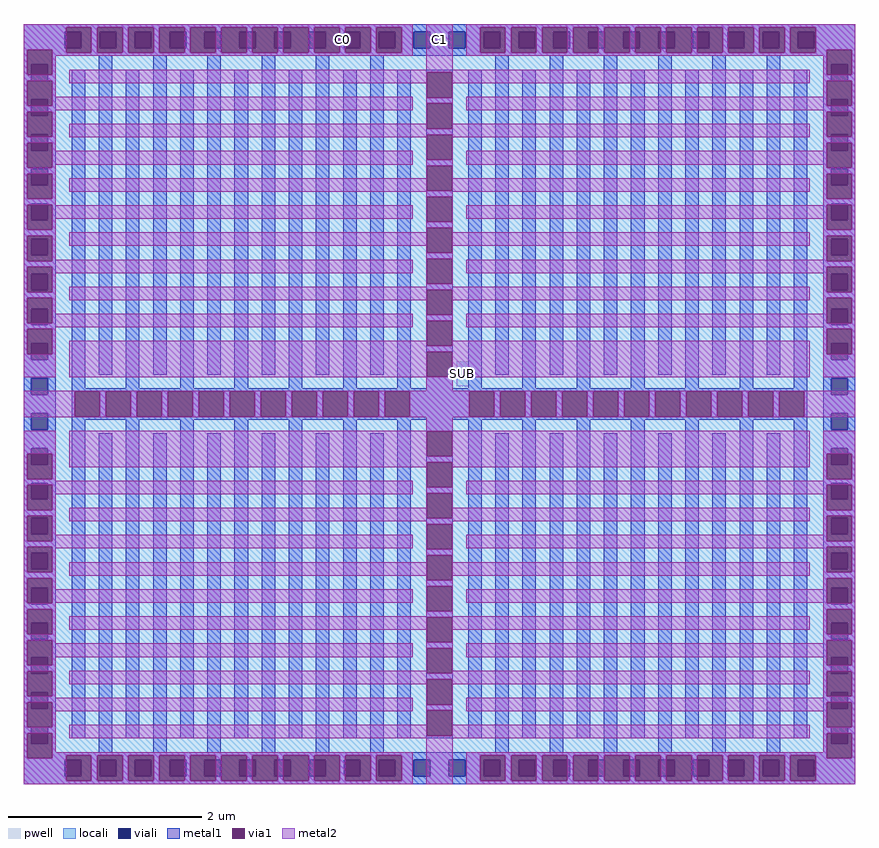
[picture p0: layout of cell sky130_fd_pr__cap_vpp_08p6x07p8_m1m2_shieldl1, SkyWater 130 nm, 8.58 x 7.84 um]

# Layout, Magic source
magic
tech sky130A
magscale 1 2
<< pwell >>
rect 894 821 918 872
<< locali >>
rect 0 1552 1716 1568
rect 0 1518 85 1552
rect 119 1518 157 1552
rect 191 1518 229 1552
rect 263 1518 301 1552
rect 335 1518 373 1552
rect 407 1518 445 1552
rect 479 1518 517 1552
rect 551 1518 589 1552
rect 623 1518 661 1552
rect 695 1518 733 1552
rect 767 1518 805 1552
rect 839 1518 877 1552
rect 911 1518 949 1552
rect 983 1518 1021 1552
rect 1055 1518 1093 1552
rect 1127 1518 1165 1552
rect 1199 1518 1237 1552
rect 1271 1518 1309 1552
rect 1343 1518 1381 1552
rect 1415 1518 1453 1552
rect 1487 1518 1525 1552
rect 1559 1518 1597 1552
rect 1631 1518 1716 1552
rect 0 1485 1716 1518
rect 0 1451 16 1485
rect 50 1451 1666 1485
rect 1700 1451 1716 1485
rect 0 1413 1716 1451
rect 0 1379 16 1413
rect 50 1379 1666 1413
rect 1700 1379 1716 1413
rect 0 1341 1716 1379
rect 0 1307 16 1341
rect 50 1307 1666 1341
rect 1700 1307 1716 1341
rect 0 1269 1716 1307
rect 0 1235 16 1269
rect 50 1235 1666 1269
rect 1700 1235 1716 1269
rect 0 1197 1716 1235
rect 0 1163 16 1197
rect 50 1163 1666 1197
rect 1700 1163 1716 1197
rect 0 1125 1716 1163
rect 0 1091 16 1125
rect 50 1091 1666 1125
rect 1700 1091 1716 1125
rect 0 1053 1716 1091
rect 0 1019 16 1053
rect 50 1019 1666 1053
rect 1700 1019 1716 1053
rect 0 981 1716 1019
rect 0 947 16 981
rect 50 947 1666 981
rect 1700 947 1716 981
rect 0 909 1716 947
rect 0 875 16 909
rect 50 875 1666 909
rect 1700 875 1716 909
rect 0 837 1716 875
rect 0 803 16 837
rect 50 803 1666 837
rect 1700 803 1716 837
rect 0 765 1716 803
rect 0 731 16 765
rect 50 731 1666 765
rect 1700 731 1716 765
rect 0 693 1716 731
rect 0 659 16 693
rect 50 659 1666 693
rect 1700 659 1716 693
rect 0 621 1716 659
rect 0 587 16 621
rect 50 587 1666 621
rect 1700 587 1716 621
rect 0 549 1716 587
rect 0 515 16 549
rect 50 515 1666 549
rect 1700 515 1716 549
rect 0 477 1716 515
rect 0 443 16 477
rect 50 443 1666 477
rect 1700 443 1716 477
rect 0 405 1716 443
rect 0 371 16 405
rect 50 371 1666 405
rect 1700 371 1716 405
rect 0 333 1716 371
rect 0 299 16 333
rect 50 299 1666 333
rect 1700 299 1716 333
rect 0 261 1716 299
rect 0 227 16 261
rect 50 227 1666 261
rect 1700 227 1716 261
rect 0 189 1716 227
rect 0 155 16 189
rect 50 155 1666 189
rect 1700 155 1716 189
rect 0 117 1716 155
rect 0 83 16 117
rect 50 83 1666 117
rect 1700 83 1716 117
rect 0 50 1716 83
rect 0 16 85 50
rect 119 16 157 50
rect 191 16 229 50
rect 263 16 301 50
rect 335 16 373 50
rect 407 16 445 50
rect 479 16 517 50
rect 551 16 589 50
rect 623 16 661 50
rect 695 16 733 50
rect 767 16 805 50
rect 839 16 877 50
rect 911 16 949 50
rect 983 16 1021 50
rect 1055 16 1093 50
rect 1127 16 1165 50
rect 1199 16 1237 50
rect 1271 16 1309 50
rect 1343 16 1381 50
rect 1415 16 1453 50
rect 1487 16 1525 50
rect 1559 16 1597 50
rect 1631 16 1716 50
rect 0 0 1716 16
<< viali >>
rect 85 1518 119 1552
rect 157 1518 191 1552
rect 229 1518 263 1552
rect 301 1518 335 1552
rect 373 1518 407 1552
rect 445 1518 479 1552
rect 517 1518 551 1552
rect 589 1518 623 1552
rect 661 1518 695 1552
rect 733 1518 767 1552
rect 805 1518 839 1552
rect 877 1518 911 1552
rect 949 1518 983 1552
rect 1021 1518 1055 1552
rect 1093 1518 1127 1552
rect 1165 1518 1199 1552
rect 1237 1518 1271 1552
rect 1309 1518 1343 1552
rect 1381 1518 1415 1552
rect 1453 1518 1487 1552
rect 1525 1518 1559 1552
rect 1597 1518 1631 1552
rect 16 1451 50 1485
rect 1666 1451 1700 1485
rect 16 1379 50 1413
rect 1666 1379 1700 1413
rect 16 1307 50 1341
rect 1666 1307 1700 1341
rect 16 1235 50 1269
rect 1666 1235 1700 1269
rect 16 1163 50 1197
rect 1666 1163 1700 1197
rect 16 1091 50 1125
rect 1666 1091 1700 1125
rect 16 1019 50 1053
rect 1666 1019 1700 1053
rect 16 947 50 981
rect 1666 947 1700 981
rect 16 875 50 909
rect 1666 875 1700 909
rect 16 803 50 837
rect 1666 803 1700 837
rect 16 731 50 765
rect 1666 731 1700 765
rect 16 659 50 693
rect 1666 659 1700 693
rect 16 587 50 621
rect 1666 587 1700 621
rect 16 515 50 549
rect 1666 515 1700 549
rect 16 443 50 477
rect 1666 443 1700 477
rect 16 371 50 405
rect 1666 371 1700 405
rect 16 299 50 333
rect 1666 299 1700 333
rect 16 227 50 261
rect 1666 227 1700 261
rect 16 155 50 189
rect 1666 155 1700 189
rect 16 83 50 117
rect 1666 83 1700 117
rect 85 16 119 50
rect 157 16 191 50
rect 229 16 263 50
rect 301 16 335 50
rect 373 16 407 50
rect 445 16 479 50
rect 517 16 551 50
rect 589 16 623 50
rect 661 16 695 50
rect 733 16 767 50
rect 805 16 839 50
rect 877 16 911 50
rect 949 16 983 50
rect 1021 16 1055 50
rect 1093 16 1127 50
rect 1165 16 1199 50
rect 1237 16 1271 50
rect 1309 16 1343 50
rect 1381 16 1415 50
rect 1453 16 1487 50
rect 1525 16 1559 50
rect 1597 16 1631 50
<< metal1 >>
rect 0 1561 1716 1568
rect 0 1552 88 1561
rect 0 1518 85 1552
rect 0 1515 88 1518
rect 0 1463 7 1515
rect 59 1509 88 1515
rect 140 1509 152 1561
rect 204 1509 216 1561
rect 268 1509 280 1561
rect 332 1552 344 1561
rect 396 1552 408 1561
rect 460 1552 472 1561
rect 524 1552 536 1561
rect 588 1552 600 1561
rect 652 1552 664 1561
rect 335 1518 344 1552
rect 407 1518 408 1552
rect 588 1518 589 1552
rect 652 1518 661 1552
rect 332 1509 344 1518
rect 396 1509 408 1518
rect 460 1509 472 1518
rect 524 1509 536 1518
rect 588 1509 600 1518
rect 652 1509 664 1518
rect 716 1509 728 1561
rect 780 1552 942 1561
rect 780 1518 805 1552
rect 839 1518 877 1552
rect 911 1518 942 1552
rect 780 1509 942 1518
rect 994 1509 1006 1561
rect 1058 1509 1070 1561
rect 1122 1552 1134 1561
rect 1186 1552 1198 1561
rect 1250 1552 1262 1561
rect 1314 1552 1326 1561
rect 1378 1552 1390 1561
rect 1442 1552 1454 1561
rect 1127 1518 1134 1552
rect 1378 1518 1381 1552
rect 1442 1518 1453 1552
rect 1122 1509 1134 1518
rect 1186 1509 1198 1518
rect 1250 1509 1262 1518
rect 1314 1509 1326 1518
rect 1378 1509 1390 1518
rect 1442 1509 1454 1518
rect 1506 1509 1518 1561
rect 1570 1509 1582 1561
rect 1634 1515 1716 1561
rect 1634 1509 1657 1515
rect 59 1502 1657 1509
rect 59 1463 66 1502
rect 0 1451 16 1463
rect 50 1451 66 1463
rect 0 1399 7 1451
rect 59 1399 66 1451
rect 0 1387 16 1399
rect 50 1387 66 1399
rect 0 1335 7 1387
rect 59 1335 66 1387
rect 0 1323 16 1335
rect 50 1323 66 1335
rect 0 1271 7 1323
rect 59 1271 66 1323
rect 0 1269 66 1271
rect 0 1259 16 1269
rect 50 1259 66 1269
rect 0 1207 7 1259
rect 59 1207 66 1259
rect 0 1197 66 1207
rect 0 1195 16 1197
rect 50 1195 66 1197
rect 0 1143 7 1195
rect 59 1143 66 1195
rect 0 1131 66 1143
rect 0 1079 7 1131
rect 59 1079 66 1131
rect 0 1067 66 1079
rect 0 1015 7 1067
rect 59 1015 66 1067
rect 0 1003 66 1015
rect 0 951 7 1003
rect 59 951 66 1003
rect 0 947 16 951
rect 50 947 66 951
rect 0 939 66 947
rect 0 887 7 939
rect 59 887 66 939
rect 0 875 16 887
rect 50 875 66 887
rect 0 837 66 875
rect 0 803 16 837
rect 50 803 66 837
rect 0 765 66 803
rect 0 731 16 765
rect 50 731 66 765
rect 0 693 66 731
rect 0 681 16 693
rect 50 681 66 693
rect 0 629 7 681
rect 59 629 66 681
rect 0 621 66 629
rect 0 617 16 621
rect 50 617 66 621
rect 0 565 7 617
rect 59 565 66 617
rect 0 553 66 565
rect 0 501 7 553
rect 59 501 66 553
rect 0 489 66 501
rect 0 437 7 489
rect 59 437 66 489
rect 0 425 66 437
rect 0 373 7 425
rect 59 373 66 425
rect 0 371 16 373
rect 50 371 66 373
rect 0 361 66 371
rect 0 309 7 361
rect 59 309 66 361
rect 0 299 16 309
rect 50 299 66 309
rect 0 297 66 299
rect 0 245 7 297
rect 59 245 66 297
rect 0 233 16 245
rect 50 233 66 245
rect 0 181 7 233
rect 59 181 66 233
rect 0 169 16 181
rect 50 169 66 181
rect 0 117 7 169
rect 59 117 66 169
rect 0 105 16 117
rect 50 105 66 117
rect 0 53 7 105
rect 59 66 66 105
rect 99 816 127 1474
rect 155 844 183 1502
rect 211 816 239 1474
rect 267 844 295 1502
rect 323 816 351 1474
rect 379 844 407 1502
rect 435 816 463 1474
rect 491 844 519 1502
rect 547 816 575 1474
rect 603 844 631 1502
rect 659 816 687 1474
rect 715 844 743 1502
rect 771 816 799 1474
rect 831 1468 885 1474
rect 831 1416 832 1468
rect 884 1416 885 1468
rect 831 1404 885 1416
rect 831 1352 832 1404
rect 884 1352 885 1404
rect 831 1340 885 1352
rect 831 1288 832 1340
rect 884 1288 885 1340
rect 831 1276 885 1288
rect 831 1224 832 1276
rect 884 1224 885 1276
rect 831 1212 885 1224
rect 831 1160 832 1212
rect 884 1160 885 1212
rect 831 1148 885 1160
rect 831 1096 832 1148
rect 884 1096 885 1148
rect 831 1084 885 1096
rect 831 1032 832 1084
rect 884 1032 885 1084
rect 831 1020 885 1032
rect 831 968 832 1020
rect 884 968 885 1020
rect 831 956 885 968
rect 831 904 832 956
rect 884 904 885 956
rect 831 892 885 904
rect 831 840 832 892
rect 884 840 885 892
rect 831 816 885 840
rect 917 816 945 1474
rect 973 844 1001 1502
rect 1029 816 1057 1474
rect 1085 844 1113 1502
rect 1141 816 1169 1474
rect 1197 844 1225 1502
rect 1253 816 1281 1474
rect 1309 844 1337 1502
rect 1365 816 1393 1474
rect 1421 844 1449 1502
rect 1477 816 1505 1474
rect 1533 844 1561 1502
rect 1589 816 1617 1474
rect 99 810 1617 816
rect 99 758 105 810
rect 157 758 169 810
rect 221 758 233 810
rect 285 758 297 810
rect 349 758 361 810
rect 413 758 425 810
rect 477 758 489 810
rect 541 758 553 810
rect 605 758 617 810
rect 669 758 681 810
rect 733 758 745 810
rect 797 758 919 810
rect 971 758 983 810
rect 1035 758 1047 810
rect 1099 758 1111 810
rect 1163 758 1175 810
rect 1227 758 1239 810
rect 1291 758 1303 810
rect 1355 758 1367 810
rect 1419 758 1431 810
rect 1483 758 1495 810
rect 1547 758 1559 810
rect 1611 758 1617 810
rect 99 752 1617 758
rect 99 94 127 752
rect 155 66 183 724
rect 211 94 239 752
rect 267 66 295 724
rect 323 94 351 752
rect 379 66 407 724
rect 435 94 463 752
rect 491 66 519 724
rect 547 94 575 752
rect 603 66 631 724
rect 659 94 687 752
rect 715 66 743 724
rect 771 94 799 752
rect 831 728 885 752
rect 831 676 832 728
rect 884 676 885 728
rect 831 664 885 676
rect 831 612 832 664
rect 884 612 885 664
rect 831 600 885 612
rect 831 548 832 600
rect 884 548 885 600
rect 831 536 885 548
rect 831 484 832 536
rect 884 484 885 536
rect 831 472 885 484
rect 831 420 832 472
rect 884 420 885 472
rect 831 408 885 420
rect 831 356 832 408
rect 884 356 885 408
rect 831 344 885 356
rect 831 292 832 344
rect 884 292 885 344
rect 831 280 885 292
rect 831 228 832 280
rect 884 228 885 280
rect 831 216 885 228
rect 831 164 832 216
rect 884 164 885 216
rect 831 152 885 164
rect 831 100 832 152
rect 884 100 885 152
rect 831 94 885 100
rect 917 94 945 752
rect 973 66 1001 724
rect 1029 94 1057 752
rect 1085 66 1113 724
rect 1141 94 1169 752
rect 1197 66 1225 724
rect 1253 94 1281 752
rect 1309 66 1337 724
rect 1365 94 1393 752
rect 1421 66 1449 724
rect 1477 94 1505 752
rect 1533 66 1561 724
rect 1589 94 1617 752
rect 1650 1463 1657 1502
rect 1709 1463 1716 1515
rect 1650 1451 1666 1463
rect 1700 1451 1716 1463
rect 1650 1399 1657 1451
rect 1709 1399 1716 1451
rect 1650 1387 1666 1399
rect 1700 1387 1716 1399
rect 1650 1335 1657 1387
rect 1709 1335 1716 1387
rect 1650 1323 1666 1335
rect 1700 1323 1716 1335
rect 1650 1271 1657 1323
rect 1709 1271 1716 1323
rect 1650 1269 1716 1271
rect 1650 1259 1666 1269
rect 1700 1259 1716 1269
rect 1650 1207 1657 1259
rect 1709 1207 1716 1259
rect 1650 1197 1716 1207
rect 1650 1195 1666 1197
rect 1700 1195 1716 1197
rect 1650 1143 1657 1195
rect 1709 1143 1716 1195
rect 1650 1131 1716 1143
rect 1650 1079 1657 1131
rect 1709 1079 1716 1131
rect 1650 1067 1716 1079
rect 1650 1015 1657 1067
rect 1709 1015 1716 1067
rect 1650 1003 1716 1015
rect 1650 951 1657 1003
rect 1709 951 1716 1003
rect 1650 947 1666 951
rect 1700 947 1716 951
rect 1650 939 1716 947
rect 1650 887 1657 939
rect 1709 887 1716 939
rect 1650 875 1666 887
rect 1700 875 1716 887
rect 1650 837 1716 875
rect 1650 803 1666 837
rect 1700 803 1716 837
rect 1650 765 1716 803
rect 1650 731 1666 765
rect 1700 731 1716 765
rect 1650 693 1716 731
rect 1650 681 1666 693
rect 1700 681 1716 693
rect 1650 629 1657 681
rect 1709 629 1716 681
rect 1650 621 1716 629
rect 1650 617 1666 621
rect 1700 617 1716 621
rect 1650 565 1657 617
rect 1709 565 1716 617
rect 1650 553 1716 565
rect 1650 501 1657 553
rect 1709 501 1716 553
rect 1650 489 1716 501
rect 1650 437 1657 489
rect 1709 437 1716 489
rect 1650 425 1716 437
rect 1650 373 1657 425
rect 1709 373 1716 425
rect 1650 371 1666 373
rect 1700 371 1716 373
rect 1650 361 1716 371
rect 1650 309 1657 361
rect 1709 309 1716 361
rect 1650 299 1666 309
rect 1700 299 1716 309
rect 1650 297 1716 299
rect 1650 245 1657 297
rect 1709 245 1716 297
rect 1650 233 1666 245
rect 1700 233 1716 245
rect 1650 181 1657 233
rect 1709 181 1716 233
rect 1650 169 1666 181
rect 1700 169 1716 181
rect 1650 117 1657 169
rect 1709 117 1716 169
rect 1650 105 1666 117
rect 1700 105 1716 117
rect 1650 66 1657 105
rect 59 59 1657 66
rect 59 53 88 59
rect 0 50 88 53
rect 0 16 85 50
rect 0 7 88 16
rect 140 7 152 59
rect 204 7 216 59
rect 268 7 280 59
rect 332 50 344 59
rect 396 50 408 59
rect 460 50 472 59
rect 524 50 536 59
rect 588 50 600 59
rect 652 50 664 59
rect 335 16 344 50
rect 407 16 408 50
rect 588 16 589 50
rect 652 16 661 50
rect 332 7 344 16
rect 396 7 408 16
rect 460 7 472 16
rect 524 7 536 16
rect 588 7 600 16
rect 652 7 664 16
rect 716 7 728 59
rect 780 50 942 59
rect 780 16 805 50
rect 839 16 877 50
rect 911 16 942 50
rect 780 7 942 16
rect 994 7 1006 59
rect 1058 7 1070 59
rect 1122 50 1134 59
rect 1186 50 1198 59
rect 1250 50 1262 59
rect 1314 50 1326 59
rect 1378 50 1390 59
rect 1442 50 1454 59
rect 1127 16 1134 50
rect 1378 16 1381 50
rect 1442 16 1453 50
rect 1122 7 1134 16
rect 1186 7 1198 16
rect 1250 7 1262 16
rect 1314 7 1326 16
rect 1378 7 1390 16
rect 1442 7 1454 16
rect 1506 7 1518 59
rect 1570 7 1582 59
rect 1634 53 1657 59
rect 1709 53 1716 105
rect 1634 7 1716 53
rect 0 0 1716 7
<< via1 >>
rect 88 1552 140 1561
rect 88 1518 119 1552
rect 119 1518 140 1552
rect 7 1485 59 1515
rect 88 1509 140 1518
rect 152 1552 204 1561
rect 152 1518 157 1552
rect 157 1518 191 1552
rect 191 1518 204 1552
rect 152 1509 204 1518
rect 216 1552 268 1561
rect 216 1518 229 1552
rect 229 1518 263 1552
rect 263 1518 268 1552
rect 216 1509 268 1518
rect 280 1552 332 1561
rect 344 1552 396 1561
rect 408 1552 460 1561
rect 472 1552 524 1561
rect 536 1552 588 1561
rect 600 1552 652 1561
rect 664 1552 716 1561
rect 280 1518 301 1552
rect 301 1518 332 1552
rect 344 1518 373 1552
rect 373 1518 396 1552
rect 408 1518 445 1552
rect 445 1518 460 1552
rect 472 1518 479 1552
rect 479 1518 517 1552
rect 517 1518 524 1552
rect 536 1518 551 1552
rect 551 1518 588 1552
rect 600 1518 623 1552
rect 623 1518 652 1552
rect 664 1518 695 1552
rect 695 1518 716 1552
rect 280 1509 332 1518
rect 344 1509 396 1518
rect 408 1509 460 1518
rect 472 1509 524 1518
rect 536 1509 588 1518
rect 600 1509 652 1518
rect 664 1509 716 1518
rect 728 1552 780 1561
rect 942 1552 994 1561
rect 728 1518 733 1552
rect 733 1518 767 1552
rect 767 1518 780 1552
rect 942 1518 949 1552
rect 949 1518 983 1552
rect 983 1518 994 1552
rect 728 1509 780 1518
rect 942 1509 994 1518
rect 1006 1552 1058 1561
rect 1006 1518 1021 1552
rect 1021 1518 1055 1552
rect 1055 1518 1058 1552
rect 1006 1509 1058 1518
rect 1070 1552 1122 1561
rect 1134 1552 1186 1561
rect 1198 1552 1250 1561
rect 1262 1552 1314 1561
rect 1326 1552 1378 1561
rect 1390 1552 1442 1561
rect 1454 1552 1506 1561
rect 1070 1518 1093 1552
rect 1093 1518 1122 1552
rect 1134 1518 1165 1552
rect 1165 1518 1186 1552
rect 1198 1518 1199 1552
rect 1199 1518 1237 1552
rect 1237 1518 1250 1552
rect 1262 1518 1271 1552
rect 1271 1518 1309 1552
rect 1309 1518 1314 1552
rect 1326 1518 1343 1552
rect 1343 1518 1378 1552
rect 1390 1518 1415 1552
rect 1415 1518 1442 1552
rect 1454 1518 1487 1552
rect 1487 1518 1506 1552
rect 1070 1509 1122 1518
rect 1134 1509 1186 1518
rect 1198 1509 1250 1518
rect 1262 1509 1314 1518
rect 1326 1509 1378 1518
rect 1390 1509 1442 1518
rect 1454 1509 1506 1518
rect 1518 1552 1570 1561
rect 1518 1518 1525 1552
rect 1525 1518 1559 1552
rect 1559 1518 1570 1552
rect 1518 1509 1570 1518
rect 1582 1552 1634 1561
rect 1582 1518 1597 1552
rect 1597 1518 1631 1552
rect 1631 1518 1634 1552
rect 1582 1509 1634 1518
rect 7 1463 16 1485
rect 16 1463 50 1485
rect 50 1463 59 1485
rect 7 1413 59 1451
rect 7 1399 16 1413
rect 16 1399 50 1413
rect 50 1399 59 1413
rect 7 1379 16 1387
rect 16 1379 50 1387
rect 50 1379 59 1387
rect 7 1341 59 1379
rect 7 1335 16 1341
rect 16 1335 50 1341
rect 50 1335 59 1341
rect 7 1307 16 1323
rect 16 1307 50 1323
rect 50 1307 59 1323
rect 7 1271 59 1307
rect 7 1235 16 1259
rect 16 1235 50 1259
rect 50 1235 59 1259
rect 7 1207 59 1235
rect 7 1163 16 1195
rect 16 1163 50 1195
rect 50 1163 59 1195
rect 7 1143 59 1163
rect 7 1125 59 1131
rect 7 1091 16 1125
rect 16 1091 50 1125
rect 50 1091 59 1125
rect 7 1079 59 1091
rect 7 1053 59 1067
rect 7 1019 16 1053
rect 16 1019 50 1053
rect 50 1019 59 1053
rect 7 1015 59 1019
rect 7 981 59 1003
rect 7 951 16 981
rect 16 951 50 981
rect 50 951 59 981
rect 7 909 59 939
rect 7 887 16 909
rect 16 887 50 909
rect 50 887 59 909
rect 7 659 16 681
rect 16 659 50 681
rect 50 659 59 681
rect 7 629 59 659
rect 7 587 16 617
rect 16 587 50 617
rect 50 587 59 617
rect 7 565 59 587
rect 7 549 59 553
rect 7 515 16 549
rect 16 515 50 549
rect 50 515 59 549
rect 7 501 59 515
rect 7 477 59 489
rect 7 443 16 477
rect 16 443 50 477
rect 50 443 59 477
rect 7 437 59 443
rect 7 405 59 425
rect 7 373 16 405
rect 16 373 50 405
rect 50 373 59 405
rect 7 333 59 361
rect 7 309 16 333
rect 16 309 50 333
rect 50 309 59 333
rect 7 261 59 297
rect 7 245 16 261
rect 16 245 50 261
rect 50 245 59 261
rect 7 227 16 233
rect 16 227 50 233
rect 50 227 59 233
rect 7 189 59 227
rect 7 181 16 189
rect 16 181 50 189
rect 50 181 59 189
rect 7 155 16 169
rect 16 155 50 169
rect 50 155 59 169
rect 7 117 59 155
rect 7 83 16 105
rect 16 83 50 105
rect 50 83 59 105
rect 7 53 59 83
rect 832 1416 884 1468
rect 832 1352 884 1404
rect 832 1288 884 1340
rect 832 1224 884 1276
rect 832 1160 884 1212
rect 832 1096 884 1148
rect 832 1032 884 1084
rect 832 968 884 1020
rect 832 904 884 956
rect 832 840 884 892
rect 105 758 157 810
rect 169 758 221 810
rect 233 758 285 810
rect 297 758 349 810
rect 361 758 413 810
rect 425 758 477 810
rect 489 758 541 810
rect 553 758 605 810
rect 617 758 669 810
rect 681 758 733 810
rect 745 758 797 810
rect 919 758 971 810
rect 983 758 1035 810
rect 1047 758 1099 810
rect 1111 758 1163 810
rect 1175 758 1227 810
rect 1239 758 1291 810
rect 1303 758 1355 810
rect 1367 758 1419 810
rect 1431 758 1483 810
rect 1495 758 1547 810
rect 1559 758 1611 810
rect 832 676 884 728
rect 832 612 884 664
rect 832 548 884 600
rect 832 484 884 536
rect 832 420 884 472
rect 832 356 884 408
rect 832 292 884 344
rect 832 228 884 280
rect 832 164 884 216
rect 832 100 884 152
rect 1657 1485 1709 1515
rect 1657 1463 1666 1485
rect 1666 1463 1700 1485
rect 1700 1463 1709 1485
rect 1657 1413 1709 1451
rect 1657 1399 1666 1413
rect 1666 1399 1700 1413
rect 1700 1399 1709 1413
rect 1657 1379 1666 1387
rect 1666 1379 1700 1387
rect 1700 1379 1709 1387
rect 1657 1341 1709 1379
rect 1657 1335 1666 1341
rect 1666 1335 1700 1341
rect 1700 1335 1709 1341
rect 1657 1307 1666 1323
rect 1666 1307 1700 1323
rect 1700 1307 1709 1323
rect 1657 1271 1709 1307
rect 1657 1235 1666 1259
rect 1666 1235 1700 1259
rect 1700 1235 1709 1259
rect 1657 1207 1709 1235
rect 1657 1163 1666 1195
rect 1666 1163 1700 1195
rect 1700 1163 1709 1195
rect 1657 1143 1709 1163
rect 1657 1125 1709 1131
rect 1657 1091 1666 1125
rect 1666 1091 1700 1125
rect 1700 1091 1709 1125
rect 1657 1079 1709 1091
rect 1657 1053 1709 1067
rect 1657 1019 1666 1053
rect 1666 1019 1700 1053
rect 1700 1019 1709 1053
rect 1657 1015 1709 1019
rect 1657 981 1709 1003
rect 1657 951 1666 981
rect 1666 951 1700 981
rect 1700 951 1709 981
rect 1657 909 1709 939
rect 1657 887 1666 909
rect 1666 887 1700 909
rect 1700 887 1709 909
rect 1657 659 1666 681
rect 1666 659 1700 681
rect 1700 659 1709 681
rect 1657 629 1709 659
rect 1657 587 1666 617
rect 1666 587 1700 617
rect 1700 587 1709 617
rect 1657 565 1709 587
rect 1657 549 1709 553
rect 1657 515 1666 549
rect 1666 515 1700 549
rect 1700 515 1709 549
rect 1657 501 1709 515
rect 1657 477 1709 489
rect 1657 443 1666 477
rect 1666 443 1700 477
rect 1700 443 1709 477
rect 1657 437 1709 443
rect 1657 405 1709 425
rect 1657 373 1666 405
rect 1666 373 1700 405
rect 1700 373 1709 405
rect 1657 333 1709 361
rect 1657 309 1666 333
rect 1666 309 1700 333
rect 1700 309 1709 333
rect 1657 261 1709 297
rect 1657 245 1666 261
rect 1666 245 1700 261
rect 1700 245 1709 261
rect 1657 227 1666 233
rect 1666 227 1700 233
rect 1700 227 1709 233
rect 1657 189 1709 227
rect 1657 181 1666 189
rect 1666 181 1700 189
rect 1700 181 1709 189
rect 1657 155 1666 169
rect 1666 155 1700 169
rect 1700 155 1709 169
rect 1657 117 1709 155
rect 1657 83 1666 105
rect 1666 83 1700 105
rect 1700 83 1709 105
rect 88 50 140 59
rect 88 16 119 50
rect 119 16 140 50
rect 88 7 140 16
rect 152 50 204 59
rect 152 16 157 50
rect 157 16 191 50
rect 191 16 204 50
rect 152 7 204 16
rect 216 50 268 59
rect 216 16 229 50
rect 229 16 263 50
rect 263 16 268 50
rect 216 7 268 16
rect 280 50 332 59
rect 344 50 396 59
rect 408 50 460 59
rect 472 50 524 59
rect 536 50 588 59
rect 600 50 652 59
rect 664 50 716 59
rect 280 16 301 50
rect 301 16 332 50
rect 344 16 373 50
rect 373 16 396 50
rect 408 16 445 50
rect 445 16 460 50
rect 472 16 479 50
rect 479 16 517 50
rect 517 16 524 50
rect 536 16 551 50
rect 551 16 588 50
rect 600 16 623 50
rect 623 16 652 50
rect 664 16 695 50
rect 695 16 716 50
rect 280 7 332 16
rect 344 7 396 16
rect 408 7 460 16
rect 472 7 524 16
rect 536 7 588 16
rect 600 7 652 16
rect 664 7 716 16
rect 728 50 780 59
rect 942 50 994 59
rect 728 16 733 50
rect 733 16 767 50
rect 767 16 780 50
rect 942 16 949 50
rect 949 16 983 50
rect 983 16 994 50
rect 728 7 780 16
rect 942 7 994 16
rect 1006 50 1058 59
rect 1006 16 1021 50
rect 1021 16 1055 50
rect 1055 16 1058 50
rect 1006 7 1058 16
rect 1070 50 1122 59
rect 1134 50 1186 59
rect 1198 50 1250 59
rect 1262 50 1314 59
rect 1326 50 1378 59
rect 1390 50 1442 59
rect 1454 50 1506 59
rect 1070 16 1093 50
rect 1093 16 1122 50
rect 1134 16 1165 50
rect 1165 16 1186 50
rect 1198 16 1199 50
rect 1199 16 1237 50
rect 1237 16 1250 50
rect 1262 16 1271 50
rect 1271 16 1309 50
rect 1309 16 1314 50
rect 1326 16 1343 50
rect 1343 16 1378 50
rect 1390 16 1415 50
rect 1415 16 1442 50
rect 1454 16 1487 50
rect 1487 16 1506 50
rect 1070 7 1122 16
rect 1134 7 1186 16
rect 1198 7 1250 16
rect 1262 7 1314 16
rect 1326 7 1378 16
rect 1390 7 1442 16
rect 1454 7 1506 16
rect 1518 50 1570 59
rect 1518 16 1525 50
rect 1525 16 1559 50
rect 1559 16 1570 50
rect 1518 7 1570 16
rect 1582 50 1634 59
rect 1657 53 1709 83
rect 1582 16 1597 50
rect 1597 16 1631 50
rect 1631 16 1634 50
rect 1582 7 1634 16
<< metal2 >>
rect 0 1561 803 1568
rect 0 1515 88 1561
rect 0 1463 7 1515
rect 59 1509 88 1515
rect 140 1509 152 1561
rect 204 1509 216 1561
rect 268 1509 280 1561
rect 332 1509 344 1561
rect 396 1509 408 1561
rect 460 1509 472 1561
rect 524 1509 536 1561
rect 588 1509 600 1561
rect 652 1509 664 1561
rect 716 1509 728 1561
rect 780 1509 803 1561
rect 59 1502 803 1509
rect 59 1463 66 1502
rect 831 1474 885 1568
rect 913 1561 1716 1568
rect 913 1509 942 1561
rect 994 1509 1006 1561
rect 1058 1509 1070 1561
rect 1122 1509 1134 1561
rect 1186 1509 1198 1561
rect 1250 1509 1262 1561
rect 1314 1509 1326 1561
rect 1378 1509 1390 1561
rect 1442 1509 1454 1561
rect 1506 1509 1518 1561
rect 1570 1509 1582 1561
rect 1634 1515 1716 1561
rect 1634 1509 1657 1515
rect 913 1502 1657 1509
rect 0 1451 66 1463
rect 0 1399 7 1451
rect 59 1418 66 1451
rect 94 1468 1622 1474
rect 94 1446 832 1468
rect 59 1399 803 1418
rect 0 1390 803 1399
rect 831 1416 832 1446
rect 884 1446 1622 1468
rect 1650 1463 1657 1502
rect 1709 1463 1716 1515
rect 1650 1451 1716 1463
rect 884 1416 885 1446
rect 1650 1418 1657 1451
rect 831 1404 885 1416
rect 0 1387 66 1390
rect 0 1335 7 1387
rect 59 1335 66 1387
rect 831 1362 832 1404
rect 0 1323 66 1335
rect 94 1352 832 1362
rect 884 1362 885 1404
rect 913 1399 1657 1418
rect 1709 1399 1716 1451
rect 913 1390 1716 1399
rect 1650 1387 1716 1390
rect 884 1352 1622 1362
rect 94 1340 1622 1352
rect 94 1334 832 1340
rect 0 1271 7 1323
rect 59 1306 66 1323
rect 59 1278 803 1306
rect 831 1288 832 1334
rect 884 1334 1622 1340
rect 1650 1335 1657 1387
rect 1709 1335 1716 1387
rect 884 1288 885 1334
rect 1650 1323 1716 1335
rect 1650 1306 1657 1323
rect 59 1271 66 1278
rect 0 1259 66 1271
rect 0 1207 7 1259
rect 59 1207 66 1259
rect 831 1276 885 1288
rect 913 1278 1657 1306
rect 831 1250 832 1276
rect 94 1224 832 1250
rect 884 1250 885 1276
rect 1650 1271 1657 1278
rect 1709 1271 1716 1323
rect 1650 1259 1716 1271
rect 884 1224 1622 1250
rect 94 1222 1622 1224
rect 0 1195 66 1207
rect 0 1143 7 1195
rect 59 1194 66 1195
rect 831 1212 885 1222
rect 59 1166 803 1194
rect 59 1143 66 1166
rect 0 1131 66 1143
rect 831 1160 832 1212
rect 884 1160 885 1212
rect 1650 1207 1657 1259
rect 1709 1207 1716 1259
rect 1650 1195 1716 1207
rect 1650 1194 1657 1195
rect 913 1166 1657 1194
rect 831 1148 885 1160
rect 831 1138 832 1148
rect 0 1079 7 1131
rect 59 1082 66 1131
rect 94 1110 832 1138
rect 831 1096 832 1110
rect 884 1138 885 1148
rect 1650 1143 1657 1166
rect 1709 1143 1716 1195
rect 884 1110 1622 1138
rect 1650 1131 1716 1143
rect 884 1096 885 1110
rect 831 1084 885 1096
rect 59 1079 803 1082
rect 0 1067 803 1079
rect 0 1015 7 1067
rect 59 1054 803 1067
rect 59 1015 66 1054
rect 831 1032 832 1084
rect 884 1032 885 1084
rect 1650 1082 1657 1131
rect 913 1079 1657 1082
rect 1709 1079 1716 1131
rect 913 1067 1716 1079
rect 913 1054 1657 1067
rect 831 1026 885 1032
rect 0 1003 66 1015
rect 0 951 7 1003
rect 59 970 66 1003
rect 94 1020 1622 1026
rect 94 998 832 1020
rect 59 951 803 970
rect 0 942 803 951
rect 831 968 832 998
rect 884 998 1622 1020
rect 1650 1015 1657 1054
rect 1709 1015 1716 1067
rect 1650 1003 1716 1015
rect 884 968 885 998
rect 1650 970 1657 1003
rect 831 956 885 968
rect 0 939 66 942
rect 0 887 7 939
rect 59 887 66 939
rect 831 914 832 956
rect 0 839 66 887
rect 94 904 832 914
rect 884 914 885 956
rect 913 951 1657 970
rect 1709 951 1716 1003
rect 913 942 1716 951
rect 1650 939 1716 942
rect 884 904 1622 914
rect 94 892 1622 904
rect 94 840 832 892
rect 884 840 1622 892
rect 94 839 1622 840
rect 1650 887 1657 939
rect 1709 887 1716 939
rect 1650 839 1716 887
rect 831 811 885 839
rect 0 810 1716 811
rect 0 758 105 810
rect 157 758 169 810
rect 221 758 233 810
rect 285 758 297 810
rect 349 758 361 810
rect 413 758 425 810
rect 477 758 489 810
rect 541 758 553 810
rect 605 758 617 810
rect 669 758 681 810
rect 733 758 745 810
rect 797 758 919 810
rect 971 758 983 810
rect 1035 758 1047 810
rect 1099 758 1111 810
rect 1163 758 1175 810
rect 1227 758 1239 810
rect 1291 758 1303 810
rect 1355 758 1367 810
rect 1419 758 1431 810
rect 1483 758 1495 810
rect 1547 758 1559 810
rect 1611 758 1716 810
rect 0 757 1716 758
rect 831 729 885 757
rect 0 681 66 729
rect 0 629 7 681
rect 59 629 66 681
rect 94 728 1622 729
rect 94 676 832 728
rect 884 676 1622 728
rect 94 664 1622 676
rect 94 654 832 664
rect 0 626 66 629
rect 0 617 803 626
rect 0 565 7 617
rect 59 598 803 617
rect 831 612 832 654
rect 884 654 1622 664
rect 1650 681 1716 729
rect 884 612 885 654
rect 1650 629 1657 681
rect 1709 629 1716 681
rect 1650 626 1716 629
rect 831 600 885 612
rect 59 565 66 598
rect 831 570 832 600
rect 0 553 66 565
rect 0 501 7 553
rect 59 514 66 553
rect 94 548 832 570
rect 884 570 885 600
rect 913 617 1716 626
rect 913 598 1657 617
rect 884 548 1622 570
rect 94 542 1622 548
rect 1650 565 1657 598
rect 1709 565 1716 617
rect 1650 553 1716 565
rect 831 536 885 542
rect 59 501 803 514
rect 0 489 803 501
rect 0 437 7 489
rect 59 486 803 489
rect 59 437 66 486
rect 831 484 832 536
rect 884 484 885 536
rect 1650 514 1657 553
rect 913 501 1657 514
rect 1709 501 1716 553
rect 913 489 1716 501
rect 913 486 1657 489
rect 831 472 885 484
rect 831 458 832 472
rect 0 425 66 437
rect 94 430 832 458
rect 0 373 7 425
rect 59 402 66 425
rect 831 420 832 430
rect 884 458 885 472
rect 884 430 1622 458
rect 1650 437 1657 486
rect 1709 437 1716 489
rect 884 420 885 430
rect 831 408 885 420
rect 59 374 803 402
rect 59 373 66 374
rect 0 361 66 373
rect 0 309 7 361
rect 59 309 66 361
rect 831 356 832 408
rect 884 356 885 408
rect 1650 425 1716 437
rect 1650 402 1657 425
rect 913 374 1657 402
rect 831 346 885 356
rect 1650 373 1657 374
rect 1709 373 1716 425
rect 1650 361 1716 373
rect 94 344 1622 346
rect 94 318 832 344
rect 0 297 66 309
rect 0 245 7 297
rect 59 290 66 297
rect 831 292 832 318
rect 884 318 1622 344
rect 884 292 885 318
rect 59 262 803 290
rect 831 280 885 292
rect 1650 309 1657 361
rect 1709 309 1716 361
rect 1650 297 1716 309
rect 1650 290 1657 297
rect 59 245 66 262
rect 0 233 66 245
rect 831 234 832 280
rect 0 181 7 233
rect 59 181 66 233
rect 94 228 832 234
rect 884 234 885 280
rect 913 262 1657 290
rect 1650 245 1657 262
rect 1709 245 1716 297
rect 884 228 1622 234
rect 94 216 1622 228
rect 94 206 832 216
rect 0 178 66 181
rect 0 169 803 178
rect 0 117 7 169
rect 59 150 803 169
rect 831 164 832 206
rect 884 206 1622 216
rect 1650 233 1716 245
rect 884 164 885 206
rect 1650 181 1657 233
rect 1709 181 1716 233
rect 1650 178 1716 181
rect 831 152 885 164
rect 59 117 66 150
rect 831 122 832 152
rect 0 105 66 117
rect 0 53 7 105
rect 59 66 66 105
rect 94 100 832 122
rect 884 122 885 152
rect 913 169 1716 178
rect 913 150 1657 169
rect 884 100 1622 122
rect 94 94 1622 100
rect 1650 117 1657 150
rect 1709 117 1716 169
rect 1650 105 1716 117
rect 59 59 803 66
rect 59 53 88 59
rect 0 7 88 53
rect 140 7 152 59
rect 204 7 216 59
rect 268 7 280 59
rect 332 7 344 59
rect 396 7 408 59
rect 460 7 472 59
rect 524 7 536 59
rect 588 7 600 59
rect 652 7 664 59
rect 716 7 728 59
rect 780 7 803 59
rect 0 0 803 7
rect 831 0 885 94
rect 1650 66 1657 105
rect 913 59 1657 66
rect 913 7 942 59
rect 994 7 1006 59
rect 1058 7 1070 59
rect 1122 7 1134 59
rect 1186 7 1198 59
rect 1250 7 1262 59
rect 1314 7 1326 59
rect 1378 7 1390 59
rect 1442 7 1454 59
rect 1506 7 1518 59
rect 1570 7 1582 59
rect 1634 53 1657 59
rect 1709 53 1716 105
rect 1634 7 1716 53
rect 913 0 1716 7
<< labels >>
flabel pwell s 894 821 918 872 0 FreeSans 200 0 0 0 SUB
port 3 nsew
flabel metal2 s 840 1518 878 1555 0 FreeSans 200 0 0 0 C1
port 2 nsew
flabel metal2 s 645 1520 671 1550 0 FreeSans 200 0 0 0 C0
port 1 nsew
<< properties >>
string GDS_FILE $PDKPATH/libs.ref/sky130_fd_pr/gds/sky130_fd_pr.gds
string GDS_END 265046
string GDS_START 244582
<< end >>
